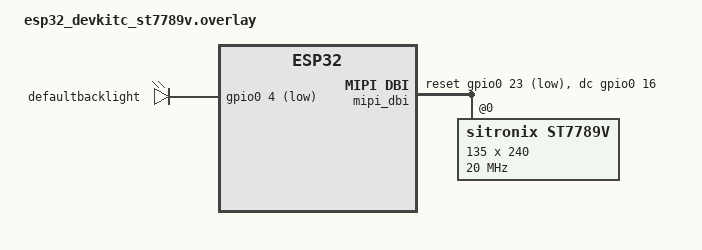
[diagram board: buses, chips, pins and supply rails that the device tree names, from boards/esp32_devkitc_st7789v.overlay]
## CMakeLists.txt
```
# SPDX-License-Identifier: Apache-2.0

cmake_minimum_required(VERSION 3.20.0)
find_package(Zephyr REQUIRED HINTS $ENV{ZEPHYR_BASE})
project(display)

set(KCONFIG_ROOT ${CMAKE_CURRENT_SOURCE_DIR}/Kconfig)

target_sources(app PRIVATE src/main.c)

zephyr_sources_ifdef(CONFIG_CONWAY_TEST src/conway.c)
```

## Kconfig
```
# SPDX-License-Identifier: Apache-2.0

menu "Conway's Game of Life Configuration for display test"

config CONWAY_TEST
	bool "Enable Conway's Game of Life test"
	default n
	help
	  Enable the Conway's Game of Life cellular test.
	  When enabled, the application will run Conway's Game of Life
	  simulation on the display.

endmenu

source "Kconfig.zephyr"
```

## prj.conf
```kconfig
CONFIG_ESP32_USE_UNSUPPORTED_REVISION=y
CONFIG_DISPLAY=y
CONFIG_LED=y
CONFIG_HEAP_MEM_POOL_SIZE=131072
CONFIG_CONWAY_TEST=y
```

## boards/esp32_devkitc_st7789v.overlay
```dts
/ {
	chosen {
		zephyr,display = &st7789v;
	};

	backlight: backlight {
		compatible = "gpio-leds";
		bl {
			gpios = <&gpio0 4 GPIO_ACTIVE_LOW>; 
			label = "defaultbacklight";
		};
	};

	mipi_dbi {
		compatible = "zephyr,mipi-dbi-spi";
		dc-gpios = <&gpio0 16 GPIO_ACTIVE_HIGH>; 
		reset-gpios = <&gpio0 23 GPIO_ACTIVE_LOW>; 
		spi-dev = <&spi3>;
		write-only;
		#address-cells = <1>;
		#size-cells = <0>;

		st7789v: st7789v@0 {
		   compatible = "sitronix,st7789v";
		   mipi-max-frequency = <20000000>;
		   reg = <0>;
		   width = <135>;
		   height = <240>;
		   x-offset = <40>;
		   y-offset = <52>;
		   mdac = <0xA8>;

			vcom = <0x28>;
			gctrl = <0x35>;
			vrhs = <0x10>;
			vdvs = <0x20>;
			gamma = <0x01>;
			colmod = <0x55>;
			lcm = <0x0C>;
			porch-param = [0C 0C 00 33 33];
			cmd2en-param = [5A 69 02 01];
			pwctrl1-param = [A4 A1];
			pvgam-param = [D0 00 02 07 0A 28 32 44 42 06 0E 12 14 17];
			nvgam-param = [D0 00 02 07 0A 28 31 54 47 0E 1C 17 1B 1E];
			ram-param = [00 E0];
			rgb-param = [CD 08 14];
		   mipi-mode = "MIPI_DBI_MODE_SPI_4WIRE";
		};
	};
};

&spim3_default {
	group1 {
		pinmux = <SPIM3_SCLK_GPIO18>, <SPIM3_CSEL_GPIO5>;
	};
	group2 {
		pinmux = <SPIM3_MOSI_GPIO19>;
		output-low;
	};
};
```

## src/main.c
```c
#include <zephyr/kernel.h>
#include <zephyr/device.h>
#include <zephyr/drivers/display.h>
#include <stdlib.h>

#ifdef CONFIG_CONWAY_TEST
#include "conway.h"
#endif

#ifndef CONFIG_CONWAY_TEST
static void simple_display_test(const struct device *disp, uint16_t *buf, int width, int height, struct display_buffer_descriptor *desc) {
    memset(buf, 0xffff, width * height * sizeof(uint16_t));

    int diamond_size = (height < width) ? height / 6 : width / 6;
    if (diamond_size < 3) diamond_size = 3;
    
    int diamonds_x = width / (diamond_size * 2);
    int diamonds_y = height / (diamond_size * 2);
    
    for (int grid_y = 0; grid_y < diamonds_y; grid_y++) {
        for (int grid_x = 0; grid_x < diamonds_x; grid_x++) {
            int center_x = (grid_x * diamond_size * 2) + diamond_size;
            int center_y = (grid_y * diamond_size * 2) + diamond_size;
            
            for (int i = 1; i <= diamond_size; i++) {
                for (int j = 1; j <= (2*i-1); j++) {
                    int x_screen = (center_x - i + j);
                    int y_screen = center_y - diamond_size + i - 1;
                    if(x_screen >= 0 && x_screen < width && y_screen >= 0 && y_screen < height)
                        buf[y_screen + x_screen * height + 10] = 1;  
                }
            }

            for (int i = diamond_size-1; i >= 1; i--) {
                for (int j = 1; j <= (2*i-1); j++) {
                    int x_screen = (center_x - i + j);
                    int y_screen = center_y + (diamond_size - i - 1);
                    if(x_screen >= 0 && x_screen < width && y_screen >= 0 && y_screen < height)
                        buf[y_screen + x_screen * height + 10] = 1; 
                }
            }
        }
    }
    
    display_write(disp, 0, 0, desc, buf);
}
#endif
 
int main(void) {
    const struct device *disp;

    disp = DEVICE_DT_GET(DT_CHOSEN(zephyr_display));
    if (!disp) {
        printk("Display device not found\n");
        return -1;
    }

    int ret = display_set_pixel_format(disp, PIXEL_FORMAT_RGB_565);
    if (ret < 0) {
        printk("Failed to set pixel format\n");
        return -1;
    }
    display_blanking_off(disp);

    struct display_capabilities capabilities;
    display_get_capabilities(disp, &capabilities);
    int width = capabilities.x_resolution;
    int height = capabilities.y_resolution;

    printf("Display capabilities: %dx%d\n", capabilities.x_resolution, capabilities.y_resolution);

    int buf_size = width * height * sizeof(uint16_t);

    uint16_t *buf = k_malloc(buf_size); 
    if (buf == NULL) {
        printk("Failed to allocate memory\n");
        return -1;
    }

    memset(buf, 0xff, buf_size);

    struct display_buffer_descriptor desc = {
        .buf_size = buf_size,
        .width = height,
        .height = width,
        .pitch = height
    };

#ifdef CONFIG_CONWAY_TEST
    conway_run(disp, buf, width, height, &desc);
#else
    simple_display_test(disp, buf, width, height, &desc);
#endif

    return 0;
}
```

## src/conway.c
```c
#include "conway.h"
#include <stdlib.h>
#include <string.h>
#include <zephyr/kernel.h>
#include <zephyr/device.h>
#include <zephyr/drivers/display.h>

/* Field dimensions for default T-Display screen (240x135) */
int field_width = 24;
int field_height = 13;
int cell_size = 10;

static void fill_buf(uint16_t *buf, int x, int y, uint16_t color, int stride) {
    buf[x + y * (stride)] = color;
}

static void draw_cell(int field_x, int field_y, bool alive, uint16_t *buf, int width) {
    for (int i = 0; i < cell_size; i++) {
        for (int j = 0; j < cell_size; j++) {
            fill_buf(buf, (field_x*cell_size + i), (field_y*cell_size + j), alive ? 0x0000 : 0xffff, width);
        }
    }
}

static void reset_buf(uint16_t *buf, int width, int height) {
    memset(buf, 0xffff, width * height * sizeof(uint16_t));
}

static void set_field_to_buf(bool field[field_width][field_height], uint16_t *buf, int height) {
    for (int x = 0; x < field_width; x++) {
        for (int y = 0; y < field_height; y++) {
            draw_cell(x, y, field[x][y], buf, height);
        }
    }
}

static void initialize_field(bool field[field_width][field_height], int seed) {
    int num_cells = 80;
    srand(seed);
    memset(field, false, field_width * field_height * sizeof(bool));
    
    int cells_placed = 0;
    while (cells_placed < num_cells) {
        int x = rand() % field_width;
        int y = rand() % field_height;
        if (field[x][y] == false) {
            field[x][y] = true;
            cells_placed++;
        }
    }
}

static void calc_field_next_step(bool field[field_width][field_height]) {    
    bool next_field[field_width][field_height];
    
    for (int x = 0; x < field_width; x++) {
        for (int y = 0; y < field_height; y++) {
            int live_neighbors = 0;
            
            for (int dx = -1; dx <= 1; dx++) {
                for (int dy = -1; dy <= 1; dy++) {
                    if (dx == 0 && dy == 0) continue;
                    
                    int nx = x + dx;
                    int ny = y + dy;
                    
                    if (nx >= 0 && nx < field_width && ny >= 0 && ny < field_height) {
                        if (field[nx][ny]) {
                            live_neighbors++;
                        }
                    }
                }
            }
            
            bool current_state = field[x][y];
            bool next_state = false;
            
            if (current_state) {
                next_state = (live_neighbors == 2 || live_neighbors == 3);
            } else {
                next_state = (live_neighbors == 3);
            }
            
            next_field[x][y] = next_state;
        }
    }
    
    for (int x = 0; x < field_width; x++) {
        for (int y = 0; y < field_height; y++) {
            field[x][y] = next_field[x][y];
        }
    }
}

void conway_run(const struct device *disp, uint16_t *buf, int width, int height, struct display_buffer_descriptor *desc) {
    bool field[field_width][field_height];
    
    unsigned int seed = 78874678;
    initialize_field(field, seed);

    set_field_to_buf(field, buf, height);
    display_write(disp, 0, 0, desc, buf);

    int steps = 1000;
    for (int t = 0; t < steps; t++) {
        calc_field_next_step(field);

        reset_buf(buf, height, width);
        
        set_field_to_buf(field, buf, height);

        display_write(disp, 0, 0, desc, buf);
        
        k_sleep(K_MSEC(50));
    }
}
```

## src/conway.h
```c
#ifndef CONWAY_H
#define CONWAY_H

#include <stdbool.h>
#include <stdint.h>
#include <zephyr/device.h>
#include <zephyr/drivers/display.h>

void conway_run(const struct device *disp, uint16_t *buf, int width, int height, struct display_buffer_descriptor *desc);

#endif // CONWAY_H
```
